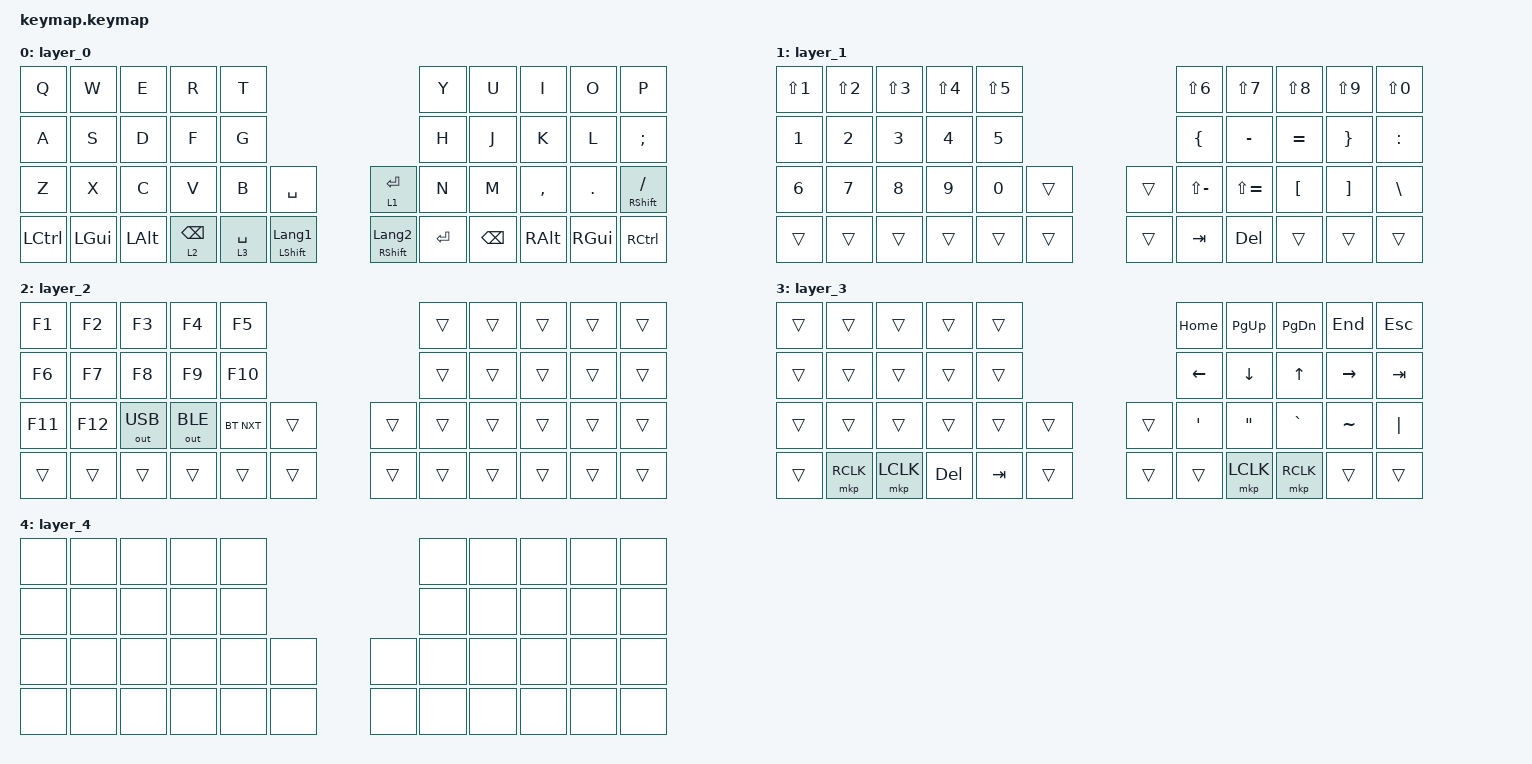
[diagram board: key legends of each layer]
#include <behaviors.dtsi>
#include <dt-bindings/zmk/bt.h>
#include <dt-bindings/zmk/keys.h>
#include <dt-bindings/zmk/outputs.h>
#include <dt-bindings/zmk/pointing.h>

// hold-preferred commits to the hold the moment another key goes down, which
// mixes stray modifiers into fast typing. balanced waits for that key to be
// released as well, which is what separates a deliberate modifier press from
// a rolled one.
&mt {
    flavor = "balanced";
};

/ {
    combos {
        compatible = "zmk,combos";

        bt_clear {
            bindings = <&bt BT_CLR>;
            key-positions = <13 14>;
            layers = <2>;
        };
    };

    keymap {
        compatible = "zmk,keymap";

        layer_0 {
            bindings = <
&kp Q      &kp W     &kp E     &kp R       &kp T                                                          &kp Y      &kp U     &kp I      &kp O     &kp P
&kp A      &kp S     &kp D     &kp F       &kp G                                                          &kp H      &kp J     &kp K      &kp L     &kp SEMI
&kp Z      &kp X     &kp C     &kp V       &kp B        &kp SPACE                  &lt 1 RET              &kp N      &kp M     &kp COMMA  &kp DOT   &mt RIGHT_SHIFT FSLH
&kp LCTRL  &kp LGUI  &kp LALT  &lt 2 BSPC  &lt 3 SPACE  &mt LEFT_SHIFT LANGUAGE_1  &mt RSHIFT LANGUAGE_2  &kp ENTER  &kp BSPC  &kp RALT   &kp RGUI  &kp RCTRL
            >;
        };

        layer_1 {
            bindings = <
&kp LS(NUMBER_1)  &kp LS(NUMBER_2)  &kp LS(N3)  &kp LS(N4)  &kp LS(N5)                  &kp LS(N6)      &kp LS(N7)     &kp LS(N8)        &kp LS(N9)         &kp LS(N0)
&kp N1            &kp N2            &kp N3      &kp N4      &kp N5                      &kp LEFT_BRACE  &kp MINUS      &kp EQUAL         &kp RIGHT_BRACE    &kp COLON
&kp N6            &kp N7            &kp N8      &kp N9      &kp N0      &trans  &trans  &kp LS(MINUS)   &kp LS(EQUAL)  &kp LEFT_BRACKET  &kp RIGHT_BRACKET  &kp BACKSLASH
&trans            &trans            &trans      &trans      &trans      &trans  &trans  &kp TAB         &kp DEL        &trans            &trans             &trans
            >;
        };

        layer_2 {
            bindings = <
&kp F1   &kp F2   &kp F3        &kp F4        &kp F5                      &trans  &trans  &trans  &trans  &trans
&kp F6   &kp F7   &kp F8        &kp F9        &kp F10                     &trans  &trans  &trans  &trans  &trans
&kp F11  &kp F12  &out OUT_USB  &out OUT_BLE  &bt BT_NXT  &trans  &trans  &trans  &trans  &trans  &trans  &trans
&trans   &trans   &trans        &trans        &trans      &trans  &trans  &trans  &trans  &trans  &trans  &trans
            >;
        };

        layer_3 {
            bindings = <
&trans  &trans     &trans     &trans      &trans                   &kp HOME          &kp PG_UP  &kp PAGE_DOWN  &kp END    &kp ESCAPE
&trans  &trans     &trans     &trans      &trans                   &kp LEFT          &kp DOWN   &kp UP_ARROW   &kp RIGHT  &kp TAB
&trans  &trans     &trans     &trans      &trans   &trans  &trans  &kp SINGLE_QUOTE  &kp DQT    &kp GRAVE      &kp TILDE  &kp PIPE
&trans  &mkp RCLK  &mkp LCLK  &kp DELETE  &kp TAB  &trans  &trans  &trans            &mkp LCLK  &mkp RCLK      &trans     &trans
            >;
        };

        // Spare layer, left blank to be filled in from ZMK Studio. &none
        // rather than &trans, so an unassigned key stays dead instead of
        // falling through to the layer below.
        // Nothing activates it yet, so it needs a &lt/&mo binding to reach.
        layer_4 {
            bindings = <
&none  &none  &none  &none  &none                &none  &none  &none  &none  &none
&none  &none  &none  &none  &none                &none  &none  &none  &none  &none
&none  &none  &none  &none  &none  &none  &none  &none  &none  &none  &none  &none
&none  &none  &none  &none  &none  &none  &none  &none  &none  &none  &none  &none
            >;
        };
    };
};
